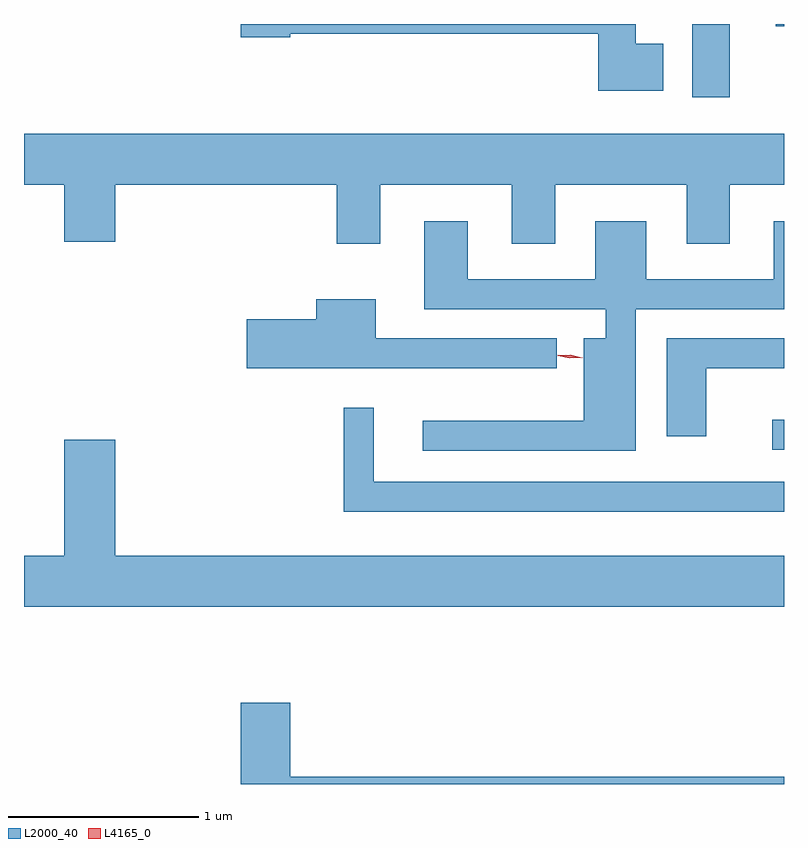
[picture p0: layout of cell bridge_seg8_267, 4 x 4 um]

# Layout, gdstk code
import gdstk
lib = gdstk.Library(unit=1e-6, precision=1e-09)
def R(c, l, rs):  # rectangles x0, y0, x1, y1
    for r in rs: c.add(gdstk.rectangle(r[:2], r[2:], *l))
def P(c, l, *ps):  # polygons
    for p in ps: c.add(gdstk.Polygon(p, *l))
L2000_40 = (2000, 40)
L4165_0 = (4165, 0)

bridge_seg8_267 = lib.new_cell('bridge_seg8_267')
R(bridge_seg8_267, L2000_40, [(1357.663,1861.661,1357.724,1861.819), (1357.241,1863.516,1357.439,1863.902), (1357.681,1863.891,1357.724,1863.902)])
P(bridge_seg8_267, L2000_40, [(1357.089,1863.799),(1356.944,1863.799),(1356.944,1863.902),(1354.866,1863.902),(1354.866,1863.831),(1355.124,1863.831),(1355.124,1863.851),(1356.746,1863.851),(1356.746,1863.551),(1357.089,1863.551)],
  [(1355.599,1863.056),(1356.291,1863.056),(1356.291,1862.746),(1356.519,1862.746),(1356.519,1863.056),(1357.211,1863.056),(1357.211,1862.746),(1357.439,1862.746),(1357.439,1863.056),(1357.724,1863.056),(1357.724,1863.324),(1353.724,1863.324),(1353.724,1863.056),(1353.936,1863.056),(1353.936,1862.756),(1354.204,1862.756),(1354.204,1863.056),(1355.371,1863.056),(1355.371,1862.746),(1355.599,1862.746)],
  [(1356.944,1862.401),(1357.724,1862.401),(1357.724,1862.864),(1357.671,1862.864),(1357.671,1862.559),(1356.999,1862.559),(1356.999,1862.864),(1356.731,1862.864),(1356.731,1862.559),(1356.059,1862.559),(1356.059,1862.864),(1355.831,1862.864),(1355.831,1862.401),(1356.786,1862.401),(1356.786,1862.249),(1356.671,1862.249),(1356.671,1861.814),(1355.823,1861.814),(1355.823,1861.656),(1356.944,1861.656)],
  [(1356.528,1862.249),(1355.574,1862.249),(1355.574,1862.454),(1355.261,1862.454),(1355.261,1862.349),(1354.896,1862.349),(1354.896,1862.091),(1356.528,1862.091)],
  [(1357.314,1862.091),(1357.724,1862.091),(1357.724,1862.249),(1357.106,1862.249),(1357.106,1861.731),(1357.314,1861.731)],
  [(1357.724,1861.494),(1355.564,1861.494),(1355.564,1861.883),(1355.406,1861.883),(1355.406,1861.336),(1357.724,1861.336)],
  [(1357.724,1861.104),(1354.204,1861.104),(1354.204,1861.714),(1353.936,1861.714),(1353.936,1861.104),(1353.724,1861.104),(1353.724,1860.836),(1357.724,1860.836)],
  [(1357.724,1859.939),(1355.124,1859.939),(1355.124,1860.329),(1354.866,1860.329),(1354.866,1859.902),(1357.724,1859.902)])
P(bridge_seg8_267, L4165_0, [(1356.597,1862.142),(1356.532,1862.157),(1356.532,1862.158),(1356.532,1862.158),(1356.599,1862.161),(1356.663,1862.146),(1356.664,1862.145),(1356.663,1862.145)])

lib.write_gds('bridge_seg8_267.gds')
